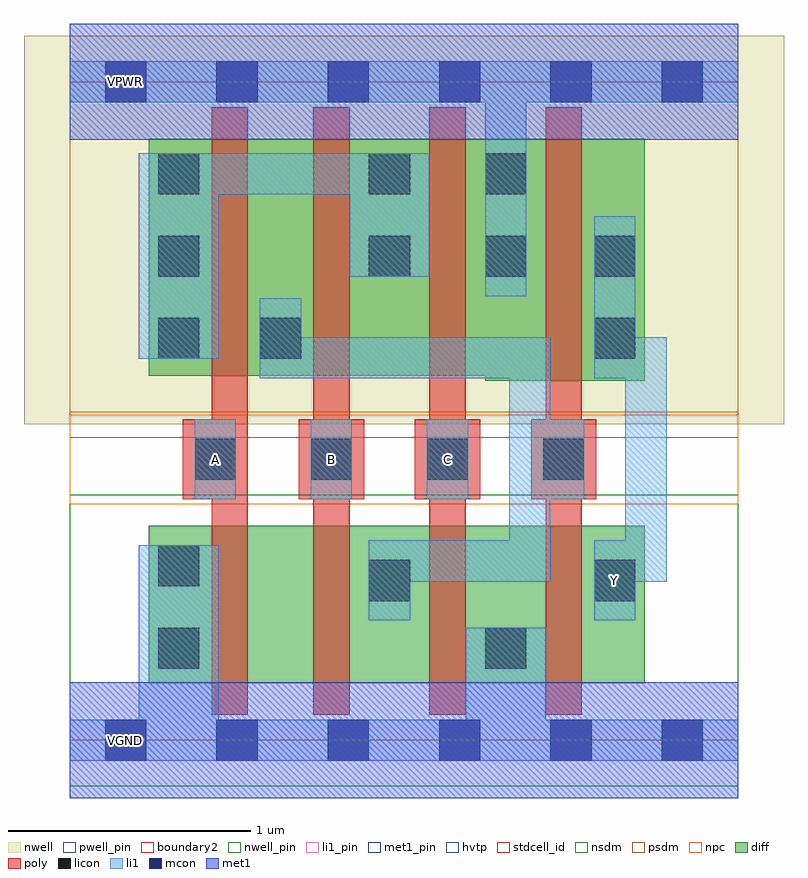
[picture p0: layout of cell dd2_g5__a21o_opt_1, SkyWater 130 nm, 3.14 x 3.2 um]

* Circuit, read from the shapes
.subckt dd2_g5__a21o_opt_1 A B C VGND VNB VPB VPWR Y
XM1 n1 A VGND VNB sky130_fd_pr__nfet_01v8 w=0.65 l=0.15
XM2 n2 B n1 VNB sky130_fd_pr__nfet_01v8 w=0.65 l=0.15
XM3 VGND C n2 VNB sky130_fd_pr__nfet_01v8 w=0.65 l=0.15
XM4 Y n2 VGND VNB sky130_fd_pr__nfet_01v8 w=0.65 l=0.15
XM5 n2 A n3 VPB sky130_fd_pr__pfet_01v8_hvt w=0.98 l=0.15
XM6 n3 B n2 VPB sky130_fd_pr__pfet_01v8_hvt w=0.98 l=0.15
XM7 VPWR C n3 VPB sky130_fd_pr__pfet_01v8_hvt w=0.98 l=0.15
XM8 Y n2 VPWR VPB sky130_fd_pr__pfet_01v8_hvt w=1 l=0.15
.ends

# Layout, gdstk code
import gdstk
lib = gdstk.Library(unit=1e-6, precision=1e-09)
def R(c, l, rs):  # rectangles x0, y0, x1, y1
    for r in rs: c.add(gdstk.rectangle(r[:2], r[2:], *l))
def A(c, l, x, y, w, h, nx, ny, dx, dy):  # array of equal rectangles
    R(c, l, [(x+i*dx, y+j*dy, x+i*dx+w, y+j*dy+h) for i in range(nx) for j in range(ny)])
nwell_pin = (64, 16)
nwell = (64, 20)
diff = (65, 20)
poly = (66, 20)
licon = (66, 44)
li1_pin = (67, 16)
li1 = (67, 20)
mcon = (67, 44)
met1_pin = (68, 16)
met1 = (68, 20)
hvtp = (78, 44)
stdcell_id = (81, 4)
nsdm = (93, 44)
psdm = (94, 20)
npc = (95, 20)
pwell_pin = (122, 16)
boundary2 = (236, 0)

dd2_g5__a21o_opt_1 = lib.new_cell('dd2_g5__a21o_opt_1')
R(dd2_g5__a21o_opt_1, nwell_pin, [(0.145,2.635,0.315,2.805)])
R(dd2_g5__a21o_opt_1, nwell, [(-0.19,1.305,2.95,2.91)])
R(dd2_g5__a21o_opt_1, diff, [(0.325,0.235,1.08,0.885), (0.66,0.235,1.56,0.885), (1.08,0.235,2.04,0.885), (1.56,0.235,2.375,0.885), (1.715,1.485,2.375,2.485), (0.325,1.505,1.08,2.485), (0.66,1.505,1.56,2.485), (1.08,1.505,2.04,2.485)])
A(dd2_g5__a21o_opt_1, poly, 1.005, 0.105, 0.15, 2.51, 3, 1, 0.48, 0)
A(dd2_g5__a21o_opt_1, poly, 0.465, 0.995, 0.27, 0.33, 4, 1, 0.48, 0)
R(dd2_g5__a21o_opt_1, poly, [(0.585,0.105,0.735,2.615)])
A(dd2_g5__a21o_opt_1, licon, 0.515, 1.075, 0.17, 0.17, 4, 1, 0.48, 0)
A(dd2_g5__a21o_opt_1, licon, 0.365, 1.575, 0.17, 0.17, 1, 3, 0, 0.34)
R(dd2_g5__a21o_opt_1, licon, [(0.365,0.295,0.535,0.465), (1.715,0.295,1.885,0.465), (1.235,0.575,1.405,0.745), (2.165,0.575,2.335,0.745), (0.365,0.635,0.535,0.805), (0.785,1.575,0.955,1.745), (2.165,1.575,2.335,1.745), (1.235,1.915,1.405,2.085), (1.715,1.915,1.885,2.085), (2.165,1.915,2.335,2.085), (1.235,2.255,1.405,2.425), (1.715,2.255,1.885,2.425)])
A(dd2_g5__a21o_opt_1, li1_pin, 0.525, 1.085, 0.15, 0.15, 3, 1, 0.48, 0)
R(dd2_g5__a21o_opt_1, li1_pin, [(0.145,-0.085,0.315,0.085), (2.175,0.585,2.325,0.735), (0.145,2.635,0.315,2.805)])
A(dd2_g5__a21o_opt_1, li1, 0.515, 0.995, 0.17, 0.33, 3, 1, 0.48, 0)
R(dd2_g5__a21o_opt_1, li1, [(0,-0.085,2.76,0.085), (0.285,0.085,0.615,0.805), (1.635,0.085,1.965,0.465), (1.235,0.495,1.405,0.655), (2.165,0.495,2.335,0.655), (1.235,0.655,1.985,0.825), (2.165,0.655,2.465,0.825), (1.815,0.825,1.985,0.995), (2.295,0.825,2.465,1.495), (1.815,0.995,2.125,1.325), (1.815,1.325,1.985,1.495), (0.785,1.495,1.985,1.665), (2.165,1.495,2.465,1.665), (0.285,1.575,0.615,2.255), (0.785,1.665,0.955,1.825), (2.165,1.665,2.335,2.165), (1.715,1.835,1.885,2.635), (1.155,1.915,1.485,2.255), (0.285,2.255,1.485,2.425), (0,2.635,2.76,2.805)])
A(dd2_g5__a21o_opt_1, mcon, 0.145, -0.085, 0.17, 0.17, 6, 2, 0.46, 2.72)
R(dd2_g5__a21o_opt_1, met1_pin, [(0.145,-0.085,0.315,0.085), (0.145,2.635,0.315,2.805)])
R(dd2_g5__a21o_opt_1, met1, [(0,-0.24,2.76,0.24), (0,2.48,2.76,2.96)])
R(dd2_g5__a21o_opt_1, hvtp, [(0,1.25,2.76,2.72)])
R(dd2_g5__a21o_opt_1, stdcell_id, [(0,0,2.76,2.72)])
R(dd2_g5__a21o_opt_1, nsdm, [(0,-0.19,2.76,1.015)])
R(dd2_g5__a21o_opt_1, psdm, [(0,1.355,2.76,2.91)])
R(dd2_g5__a21o_opt_1, npc, [(0,0.975,2.76,1.345)])
R(dd2_g5__a21o_opt_1, pwell_pin, [(0.145,-0.085,0.315,0.085)])
R(dd2_g5__a21o_opt_1, boundary2, [(0,0,2.76,2.72)])
dd2_g5__a21o_opt_1.add(gdstk.Label('VPWR', (0.23,2.72), layer=68, texttype=5))
dd2_g5__a21o_opt_1.add(gdstk.Label('VGND', (0.23,0), layer=68, texttype=5))
dd2_g5__a21o_opt_1.add(gdstk.Label('VPWR', (0.23,2.72), layer=67, texttype=5))
dd2_g5__a21o_opt_1.add(gdstk.Label('VGND', (0.23,0), layer=67, texttype=5))
dd2_g5__a21o_opt_1.add(gdstk.Label('A', (0.6,1.16), layer=67, texttype=5))
dd2_g5__a21o_opt_1.add(gdstk.Label('B', (1.08,1.16), layer=67, texttype=5))
dd2_g5__a21o_opt_1.add(gdstk.Label('C', (1.56,1.16), layer=67, texttype=5))
dd2_g5__a21o_opt_1.add(gdstk.Label('Y', (2.25,0.66), layer=67, texttype=5))
dd2_g5__a21o_opt_1.add(gdstk.Label('VPB', (0.23,2.72), layer=64, texttype=5))
dd2_g5__a21o_opt_1.add(gdstk.Label('VNB', (0.23,0), layer=64, texttype=59))

lib.write_gds('dd2_g5__a21o_opt_1.gds')
